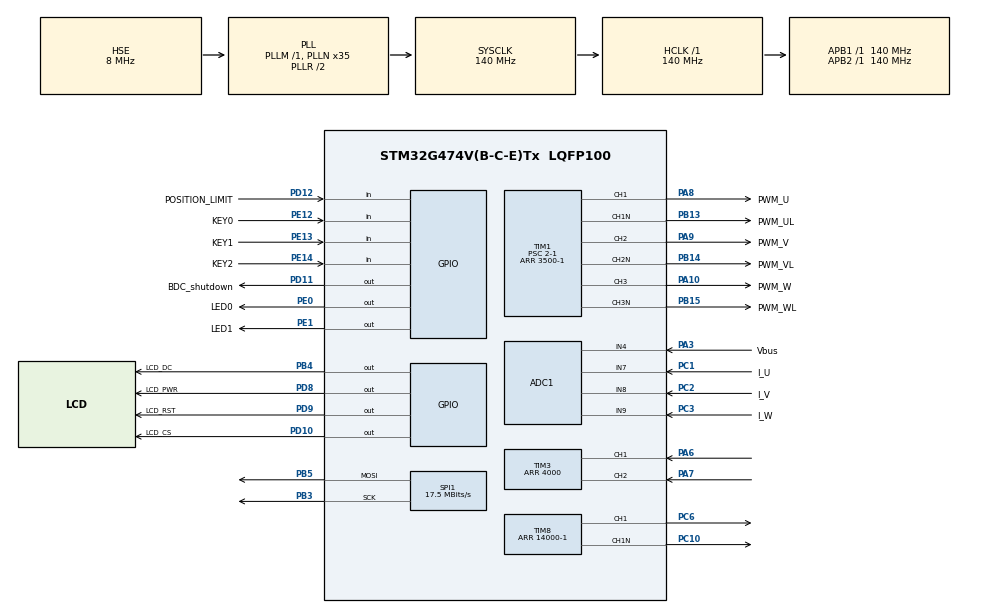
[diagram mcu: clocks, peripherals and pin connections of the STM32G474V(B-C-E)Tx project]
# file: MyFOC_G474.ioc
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ADC1.Channel-0\#ChannelRegularConversion=ADC_CHANNEL_4
ADC1.ContinuousConvMode=ENABLE
ADC1.EnableInjectedConversion=ENABLE
ADC1.ExternalTrigInjecConv=ADC_EXTERNALTRIGINJEC_T1_CC4
ADC1.InjNumberOfConversion=3
ADC1.InjectedChannel-1\#ChannelInjectedConversion=ADC_CHANNEL_7
ADC1.InjectedChannel-2\#ChannelInjectedConversion=ADC_CHANNEL_8
ADC1.InjectedChannel-3\#ChannelInjectedConversion=ADC_CHANNEL_9
ADC1.InjectedOffsetNumber-1\#ChannelInjectedConversion=ADC_OFFSET_NONE
ADC1.InjectedOffsetNumber-2\#ChannelInjectedConversion=ADC_OFFSET_NONE
ADC1.InjectedOffsetNumber-3\#ChannelInjectedConversion=ADC_OFFSET_NONE
ADC1.InjectedRank-1\#ChannelInjectedConversion=1
ADC1.InjectedRank-2\#ChannelInjectedConversion=2
ADC1.InjectedRank-3\#ChannelInjectedConversion=3
ADC1.InjectedSamplingTime-1\#ChannelInjectedConversion=ADC_SAMPLETIME_12CYCLES_5
ADC1.InjectedSamplingTime-2\#ChannelInjectedConversion=ADC_SAMPLETIME_12CYCLES_5
ADC1.InjectedSamplingTime-3\#ChannelInjectedConversion=ADC_SAMPLETIME_12CYCLES_5
ADC1.NbrOfConversionFlag=1
ADC1.OffsetNumber-0\#ChannelRegularConversion=ADC_OFFSET_NONE
ADC1.Rank-0\#ChannelRegularConversion=1
ADC1.Rank1_Channel=ADC_CHANNEL_7
ADC1.Rank2_Channel=ADC_CHANNEL_8
ADC1.Rank3_Channel=ADC_CHANNEL_9
ADC1.SamplingTime-0\#ChannelRegularConversion=ADC_SAMPLETIME_2CYCLES_5
ADC1.master=1
Dma.Request0=SPI1_TX
Dma.SPI1_TX.0.Direction=DMA_MEMORY_TO_PERIPH
Dma.SPI1_TX.0.EventEnable=DISABLE
Dma.SPI1_TX.0.Instance=DMA1_Channel1
Dma.SPI1_TX.0.MemDataAlignment=DMA_MDATAALIGN_BYTE
Dma.SPI1_TX.0.MemInc=DMA_MINC_ENABLE
Dma.SPI1_TX.0.Mode=DMA_NORMAL
Dma.SPI1_TX.0.PeriphDataAlignment=DMA_PDATAALIGN_BYTE
Dma.SPI1_TX.0.PeriphInc=DMA_PINC_DISABLE
Dma.SPI1_TX.0.Polarity=HAL_DMAMUX_REQ_GEN_RISING
Dma.SPI1_TX.0.Priority=DMA_PRIORITY_LOW
Dma.SPI1_TX.0.RequestNumber=1
Dma.SPI1_TX.0.SignalID=NONE
Dma.SPI1_TX.0.SyncEnable=DISABLE
Dma.SPI1_TX.0.SyncPolarity=HAL_DMAMUX_SYNC_NO_EVENT
Dma.SPI1_TX.0.SyncRequestNumber=1
Dma.SPI1_TX.0.SyncSignalID=NONE
FREERTOS.Tasks01=Task_10ms,24,256,StartTask_10ms,Default,NULL,Static,Task_10msBuffer,Task_10msControlBlock;Task_1ms,40,256,StartTask_1ms,Default,NULL,Static,Task_1msBuffer,Task_1msControlBlock;Task_500ms,8,512,StartTask_500ms,Default,NULL,Static,Task_500msBuffer,Task_500msControlBlock
FREERTOS.configTOTAL_HEAP_SIZE=8192
Mcu.Family=STM32G4
Mcu.Name=STM32G474V(B-C-E)Tx
Mcu.Package=LQFP100
NVIC.ADC1_2_IRQn=true\:5\:0\:false\:false\:true\:false\:true\:true\:true
NVIC.DMA1_Channel1_IRQn=true\:6\:0\:true\:false\:true\:true\:false\:true\:true
NVIC.PVD_PVM_IRQn=true\:1\:0\:true\:false\:true\:false\:true\:true\:true
NVIC.PriorityGroup=NVIC_PRIORITYGROUP_4
NVIC.SPI1_IRQn=true\:6\:0\:true\:false\:true\:true\:true\:true\:true
NVIC.TIM3_IRQn=true\:1\:0\:true\:false\:true\:false\:true\:true\:true
NVIC.TIM6_DAC_IRQn=true\:15\:0\:false\:false\:true\:false\:true\:true\:true
NVIC.TIM7_DAC_IRQn=true\:2\:0\:true\:false\:true\:false\:true\:true\:true
NVIC.TimeBase=TIM6_DAC_IRQn
NVIC.TimeBaseIP=TIM6
PA10.GPIO_Label=PWM_W
PA10.Signal=S_TIM1_CH3
PA13.Mode=Serial_Wire
PA13.Signal=SYS_JTMS-SWDIO
PA14.Mode=Serial_Wire
PA14.Signal=SYS_JTCK-SWCLK
PA3.GPIO_Label=Vbus
PA3.Mode=IN4-Single-Ended
PA3.Signal=ADC1_IN4
PA6.Signal=S_TIM3_CH1
PA7.Signal=S_TIM3_CH2
PA8.GPIO_Label=PWM_U
PA8.Signal=S_TIM1_CH1
PA9.GPIO_Label=PWM_V
PA9.Signal=S_TIM1_CH2
PB13.GPIO_Label=PWM_UL
PB13.Mode=PWM Generation1 CH1 CH1N
PB13.Signal=TIM1_CH1N
PB14.GPIO_Label=PWM_VL
PB14.Mode=PWM Generation2 CH2 CH2N
PB14.Signal=TIM1_CH2N
PB15.GPIO_Label=PWM_WL
PB15.Mode=PWM Generation3 CH3 CH3N
PB15.Signal=TIM1_CH3N
PB3.Mode=TX_Only_Simplex_Unidirect_Master
PB3.Signal=SPI1_SCK
PB4.GPIO_Label=LCD_DC
PB4.GPIO_Speed=GPIO_SPEED_FREQ_VERY_HIGH
PB4.PinState=GPIO_PIN_SET
PB4.Signal=GPIO_Output
PB5.Mode=TX_Only_Simplex_Unidirect_Master
PB5.Signal=SPI1_MOSI
PC1.GPIO_Label=I_U
PC1.Mode=IN7-Single-Ended
PC1.Signal=ADC1_IN7
PC10.Mode=PWM Generation1 CH1 CH1N
PC10.Signal=TIM8_CH1N
PC2.GPIO_Label=I_V
PC2.Mode=IN8-Single-Ended
PC2.Signal=ADC1_IN8
PC3.GPIO_Label=I_W
PC3.Mode=IN9-Single-Ended
PC3.Signal=ADC1_IN9
PC6.Signal=S_TIM8_CH1
PD10.GPIO_Label=LCD_CS
PD10.GPIO_PuPd=GPIO_PULLUP
PD10.GPIO_Speed=GPIO_SPEED_FREQ_VERY_HIGH
PD10.PinState=GPIO_PIN_SET
PD10.Signal=GPIO_Output
PD11.GPIO_Label=BDC_shutdown
PD11.Signal=GPIO_Output
PD12.GPIO_Label=POSITION_LIMIT
PD12.GPIO_PuPd=GPIO_NOPULL
PD12.Signal=GPIO_Input
PD8.GPIO_Label=LCD_PWR
PD8.GPIO_ModeDefaultOutputPP=GPIO_MODE_OUTPUT_PP
PD8.PinState=GPIO_PIN_SET
PD8.Signal=GPIO_Output
PD9.GPIO_Label=LCD_RST
PD9.GPIO_PuPd=GPIO_PULLUP
PD9.GPIO_Speed=GPIO_SPEED_FREQ_HIGH
PD9.PinState=GPIO_PIN_SET
PD9.Signal=GPIO_Output
PE0.GPIO_Label=LED0
PE0.GPIO_PuPd=GPIO_PULLUP
PE0.Signal=GPIO_Output
PE1.GPIO_Label=LED1
PE1.GPIO_PuPd=GPIO_PULLUP
PE1.Signal=GPIO_Output
PE12.GPIO_Label=KEY0
PE12.GPIO_PuPd=GPIO_PULLUP
PE12.Signal=GPIO_Input
PE13.GPIO_Label=KEY1
PE13.GPIO_PuPd=GPIO_PULLUP
PE13.Signal=GPIO_Input
PE14.GPIO_Label=KEY2
PE14.GPIO_PuPd=GPIO_PULLUP
PE14.Signal=GPIO_Input
PF0-OSC_IN.Mode=HSE-External-Oscillator
PF0-OSC_IN.Signal=RCC_OSC_IN
PF1-OSC_OUT.Mode=HSE-External-Oscillator
PF1-OSC_OUT.Signal=RCC_OSC_OUT
ProjectManager.HeapSize=0x200
ProjectManager.StackSize=0x400
ProjectManager.TargetToolchain=MDK-ARM V5.32
RCC.ADC12Freq_Value=140000000
RCC.ADC345Freq_Value=140000000
RCC.AHBFreq_Value=140000000
RCC.APB1Freq_Value=140000000
RCC.APB1TimFreq_Value=140000000
RCC.APB2Freq_Value=140000000
RCC.APB2TimFreq_Value=140000000
RCC.CortexFreq_Value=140000000
RCC.EXTERNAL_CLOCK_VALUE=12288000
RCC.HCLKFreq_Value=140000000
RCC.HSE_VALUE=8000000
RCC.HSI48_VALUE=48000000
RCC.HSI_VALUE=16000000
RCC.LSE_VALUE=32768
RCC.PLLN=35
RCC.PLLSourceVirtual=RCC_PLLSOURCE_HSE
RCC.SYSCLKFreq_VALUE=140000000
RCC.SYSCLKSource=RCC_SYSCLKSOURCE_PLLCLK
RCC.USBFreq_Value=140000000
RCC.VCOOutputFreq_Value=280000000
SH.S_TIM1_CH1.0=TIM1_CH1,PWM Generation1 CH1 CH1N
SH.S_TIM1_CH2.0=TIM1_CH2,PWM Generation2 CH2 CH2N
SH.S_TIM1_CH3.0=TIM1_CH3,PWM Generation3 CH3 CH3N
SH.S_TIM3_CH1.0=TIM3_CH1,Encoder_Interface
SH.S_TIM3_CH2.0=TIM3_CH2,Encoder_Interface
SH.S_TIM8_CH1.0=TIM8_CH1,PWM Generation1 CH1 CH1N
SPI1.BaudRatePrescaler=SPI_BAUDRATEPRESCALER_8
SPI1.CLKPhase=SPI_PHASE_2EDGE
SPI1.CLKPolarity=SPI_POLARITY_HIGH
SPI1.CalculateBaudRate=17.5 MBits/s
SPI1.DataSize=SPI_DATASIZE_8BIT
SPI1.Direction=SPI_DIRECTION_2LINES
SPI1.Mode=SPI_MODE_MASTER
SPI1.VirtualType=VM_MASTER
TIM1.Channel-PWM\ Generation1\ CH1\ CH1N=TIM_CHANNEL_1
TIM1.Channel-PWM\ Generation2\ CH2\ CH2N=TIM_CHANNEL_2
TIM1.Channel-PWM\ Generation3\ CH3\ CH3N=TIM_CHANNEL_3
TIM1.Channel-PWM\ Generation4\ No\ Output=TIM_CHANNEL_4
TIM1.CounterMode=TIM_COUNTERMODE_CENTERALIGNED3
TIM1.DeadTime=40
TIM1.OCMode_PWM-PWM\ Generation4\ No\ Output=TIM_OCMODE_PWM2
TIM1.PeriodNoDither=3500-1
TIM1.Prescaler=2-1
TIM1.PulseNoDither_4=3500-2
TIM1.RepetitionCounter=1
TIM1.TIM_MasterOutputTrigger=TIM_TRGO_OC4REF
TIM3.EncoderMode=TIM_ENCODERMODE_TI12
TIM3.IC1Filter=5
TIM3.IC2Filter=5
TIM3.PeriodNoDither=4000
TIM7.PeriodNoDither=7000
TIM7.Prescaler=20-1
TIM8.AutoReloadPreload=TIM_AUTORELOAD_PRELOAD_ENABLE
TIM8.Channel-PWM\ Generation1\ CH1\ CH1N=TIM_CHANNEL_1
TIM8.DeadTime=15
TIM8.OCNPolarity_1=TIM_OCNPOLARITY_LOW
TIM8.OCPolarity_1=TIM_OCPOLARITY_LOW
TIM8.OffStateRunMode=TIM_OSSR_ENABLE
TIM8.PeriodNoDither=14000-1
VP_FREERTOS_VS_CMSIS_V2.Mode=CMSIS_V2
VP_SYS_VS_DBSignals.Mode=DisableDeadBatterySignals
VP_SYS_VS_tim6.Mode=TIM6
VP_TIM1_VS_ClockSourceINT.Mode=Internal
VP_TIM1_VS_no_output4.Mode=PWM Generation4 No Output
VP_TIM7_VS_ClockSourceINT.Mode=Enable_Timer
board=custom

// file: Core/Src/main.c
/* USER CODE BEGIN Header */
/**
  ******************************************************************************
  * @file           : main.c
  * @brief          : Main program body
  ******************************************************************************
  * @attention
  *
  * Copyright (c) 2025 STMicroelectronics.
  * All rights reserved.
  *
  * This software is licensed under terms that can be found in the LICENSE file
  * in the root directory of this software component.
  * If no LICENSE file comes with this software, it is provided AS-IS.
  *
  ******************************************************************************
  */
/* USER CODE END Header */
#include "main.h"
#include "cmsis_os.h"
#include "adc.h"
#include "dma.h"
#include "spi.h"
#include "tim.h"
#include "gpio.h"

/* USER CODE BEGIN Includes */
#include "Led_Key.h"
#include "Encoder.h"
#include "Foc_Function.h"
#include "Observer.h"
#include "Filter.h"
#include "dwt_timer.h"
#include "math.h"
#include "arm_math.h"
/* USER CODE END Includes */

/* USER CODE BEGIN PV */

uint16_t  ADC_Vbus   = 0;           //ADC原始值
uint16_t  ADC_IsensU = 0;
uint16_t  ADC_IsensV = 0;
uint16_t  ADC_IsensW = 0;

float   Vbus         = 0;           ////电压电流真实值
float   IsensU_raw   = 0;           //电流生值
float   IsensV_raw   = 0;
float   IsensW_raw   = 0;
float   IsensU       = 0;           //电流滤波值
float   IsensV       = 0;
float   IsensW       = 0;

uint8_t Offset_Flag  = 0;           //偏置校准变量
uint8_t Run_Flag     = 0;           //电机启动标志
uint8_t Run_Switch   = 0;           //观测器切换标志为
uint8_t ThetaUp_Flag = 0;           //开环位置自增标志

uint16_t U_Offset    = 0;           //偏置ADC值
uint16_t V_Offset    = 0;
uint16_t W_Offset    = 0;

#define  OC_TRIP_A   15.0f          // 电流保护
volatile uint8_t g_fault_oc = 0;   // 过流闩锁，触发后保持故障态

uint8_t key;                        //按键值
float   my_theta      = 0;          //开环位置
float   my_step       = 0.000f;     //开环增量
float   my_add        = 0.0f;

uint16_t EncodeValue    = 0;        //编码器当前值
float   encode_e_theta  = 0;        //真实电角度
float   encode_speed    = 0;        //真实速度
uint16_t encode_cnt     = 0;        //编码器计圈

float   smo_e_theta     = 0;        //SMO_Atan
float   smo_pll_e_theta = 0;        //SMO_PLL
float   bef_e_theta     = 0;        //
float   smo_speed_raw   = 0;
float   smo_speed       = 0;        //SMO_RPM

float   smo_err         = 0;        //观测器和实际角度误差

float   final_theta     = 0;        //IF/SMO blend output angleref

float   ref             =1.5f;

float    Ud;
float    Uq;
float    Ualpha;
float    Ubeta;
float    Id;
float    Iq;
float    Ialpha;
float    Ibeta;

float    Vup        = 0;            //VF开环频率（速度）变量
float    Uup        = 0;            //VF开环电压变量

float    kp         = 1.03f;        //电流环PID调试变量 带宽800Hz
float    ki         = 0.11f;        //电流环PID调试变量
float    skp        = 0.016f;       //速度环PID调试变量
float    ski        = 0.00060f;     //速度环PID调试变量

float    Iqref_start= 4.0f;         //IF-SMO切换电流环
float    Iqref      = 4.0f;         //Iq参考
float    Speedref   = 0.0f;

float    SMO_K      = 3.0f;         //初始滑膜增益
float    Kr         = 0.0f;         //谐振增益

LPF1_t g_smo_speed_lpf  = {0};      //低通滤波器
DWT_Time_t t = {0};                 //DWT时间戳

/* USER CODE END PV */

void SystemClock_Config(void);
void MX_FREERTOS_Init(void);

int main(void)
{

  /* MCU Configuration--------------------------------------------------------*/

  /* Reset of all peripherals, Initializes the Flash interface and the Systick. */
  HAL_Init();

  /* Configure the system clock */
  SystemClock_Config();

  /* Initialize all configured peripherals */
  MX_GPIO_Init();
  MX_DMA_Init();
  MX_ADC1_Init();
  MX_TIM1_Init();
  MX_TIM3_Init();
  MX_TIM7_Init();
  MX_SPI1_Init();
  MX_TIM8_Init();
  /* USER CODE BEGIN 2 */
  DWT_Timer_Init();

  /******* 关闭所有led灯 *******/
  LED0(1);
  LED1(1);

  /******* 控制器参数赋值 *******/
  C_PI.Kp  = kp;                                               //wb*Ls = 1000*0.000444463 = 0.444463
  C_PI.Ki  = ki;                                               //wb*Rs = 1000*0.223025     = 223
  S_PI.Kp  = skp;
  S_PI.Ki  = ski;

  PR_Id.Kr = Kr;
  PR_Iq.Kr = Kr;

  /*********** ADC相电流采集 ***********/
  __HAL_ADC_CLEAR_FLAG( &hadc1, ADC_FLAG_JEOC);                     //在启动新一轮ADC转换前，清除之前的转换结束标志
  __HAL_ADC_CLEAR_FLAG( &hadc1, ADC_FLAG_EOC);                      //End of Conversion标志位

  HAL_ADCEx_Calibration_Start(&hadc1 , ADC_SINGLE_ENDED);           //ADC自校准
  HAL_ADCEx_InjectedStart_IT(&hadc1);                               //开启三相电流值ADC采集以及ADC中断

  /*********TIM1&6&3 PWM互补输出 触发 定时 编码器**********/
//  HAL_TIM_Base_Start_IT(&htim6);                                  //TIM6 计时

  HAL_TIM_Encoder_Stop(&htim3, TIM_CHANNEL_ALL);                    //TIM3 编码器 先停止
  __HAL_TIM_SET_COUNTER(&htim3, 0);                                 //清0计数器

  HAL_TIM_Base_Start( &htim1);                                      //TIM1 PWM

  HAL_TIM_PWM_Start ( &htim1, TIM_CHANNEL_4);                       //触发通道4这里用的这个事件触发ADC采集

  HAL_TIM_PWM_Start( &htim1, TIM_CHANNEL_1);                        //三相PWM通道开启
  HAL_TIM_PWM_Start( &htim1, TIM_CHANNEL_2);
  HAL_TIM_PWM_Start( &htim1, TIM_CHANNEL_3);
  HAL_TIMEx_PWMN_Start( &htim1, TIM_CHANNEL_1);                     //三相PWM互补通道开启
  HAL_TIMEx_PWMN_Start( &htim1, TIM_CHANNEL_2);

  /* USER CODE END 2 */

  /* Init scheduler */
  osKernelInitialize();

  /* Call init function for freertos objects (in cmsis_os2.c) */
  MX_FREERTOS_Init();

  /* Start scheduler */
  osKernelStart();

  /* We should never get here as control is now taken by the scheduler */

  /* Infinite loop */
  while (1)
  {

  }
}

void SystemClock_Config(void)
{
  RCC_OscInitTypeDef RCC_OscInitStruct = {0};
  RCC_ClkInitTypeDef RCC_ClkInitStruct = {0};

  /** Configure the main internal regulator output voltage
  */
  HAL_PWREx_ControlVoltageScaling(PWR_REGULATOR_VOLTAGE_SCALE1);

  /** Initializes the RCC Oscillators according to the specified parameters
  * in the RCC_OscInitTypeDef structure.
  */
  RCC_OscInitStruct.OscillatorType = RCC_OSCILLATORTYPE_HSE;
  RCC_OscInitStruct.HSEState = RCC_HSE_ON;
  RCC_OscInitStruct.PLL.PLLState = RCC_PLL_ON;
  RCC_OscInitStruct.PLL.PLLSource = RCC_PLLSOURCE_HSE;
  RCC_OscInitStruct.PLL.PLLM = RCC_PLLM_DIV1;
  RCC_OscInitStruct.PLL.PLLN = 35;
  RCC_OscInitStruct.PLL.PLLP = RCC_PLLP_DIV2;
  RCC_OscInitStruct.PLL.PLLQ = RCC_PLLQ_DIV2;
  RCC_OscInitStruct.PLL.PLLR = RCC_PLLR_DIV2;
  if (HAL_RCC_OscConfig(&RCC_OscInitStruct) != HAL_OK)
  {
    Error_Handler();
  }

  /** Initializes the CPU, AHB and APB buses clocks
  */
  RCC_ClkInitStruct.ClockType = RCC_CLOCKTYPE_HCLK|RCC_CLOCKTYPE_SYSCLK
                              |RCC_CLOCKTYPE_PCLK1|RCC_CLOCKTYPE_PCLK2;
  RCC_ClkInitStruct.SYSCLKSource = RCC_SYSCLKSOURCE_PLLCLK;
  RCC_ClkInitStruct.AHBCLKDivider = RCC_SYSCLK_DIV1;
  RCC_ClkInitStruct.APB1CLKDivider = RCC_HCLK_DIV1;
  RCC_ClkInitStruct.APB2CLKDivider = RCC_HCLK_DIV1;

  if (HAL_RCC_ClockConfig(&RCC_ClkInitStruct, FLASH_LATENCY_4) != HAL_OK)
  {
    Error_Handler();
  }
}

/* USER CODE BEGIN 4 */

/*********************************** 各类中断存放区 主要功能实现 ***********************************/

/*ADC三相电流低端采样完成中断 FOC运算 10kHz */
void HAL_ADCEx_InjectedConvCpltCallback(ADC_HandleTypeDef *hadc)                //10kHz频率 0.0001s算一次
{

    DWT_Timer_Start(&t);
    static uint8_t  offset_cnt   = 0;                                           // 偏置测量计数

    static uint16_t align_cnt    = 0;                                           // 0位对齐计时
    static uint32_t openloop_cnt = 0;                                           // 开环计时

    static uint16_t smo_settle_cnt = 0;                                         // 进入SMO_ONLY后稳定计数
    static uint8_t  speed_loop_en  = 0;                                         // 速度环使能标志
    static uint8_t  speed_cnt      = 0;                                         // 速度环分频计数（10kHz->1kHz）
    static float    speedref_cmd   = 0.0f;                                      // 速度给定斜坡

    smo_pll_e_theta = SMO_PLL_Update(&SMO, &PLL, MyFoc.Ualpha, MyFoc.Ubeta, MyFoc.Ialpha, MyFoc.Ibeta);
    smo_speed_raw   = (float)PLL.Est_RPM;                                                                         //Jlink调试
    smo_speed       = LPF1_Update(&g_smo_speed_lpf, smo_speed_raw, 0.015f);
    MyFoc.speed     = smo_speed;
    //my_add          = SMO_GetPhaseComp(smo_speed);                              //相位补偿
    SMO_K = 0.0082f * smo_speed + 0.2133f;                                      //动态滑膜增益
    if(SMO_K < 1.5f)  SMO_K = 1.5f;
    else if(SMO_K > 15.0f) SMO_K = 15.0f;
    SMO.K = SMO_K;

    UNUSED(hadc);
    if(hadc == &hadc1)
    {

        if(Offset_Flag == 0)
        {
            offset_cnt++;
            ADC_IsensU = hadc1.Instance->JDR1;
            ADC_IsensV = hadc1.Instance->JDR2;
            ADC_IsensW = hadc1.Instance->JDR3;

            U_Offset += ADC_IsensU;
            V_Offset += ADC_IsensV;
            W_Offset += ADC_IsensW;

            if(offset_cnt >= 10)
            {
                U_Offset = U_Offset/10;
                V_Offset = V_Offset/10;
                W_Offset = W_Offset/10;
                Offset_Flag  = 1;                                               //偏置完成 标志位置1
                Run_Flag     = 1;                                               //允许启动

            }
        }
        else
        {
            ADC_IsensU = hadc1.Instance->JDR1;
            ADC_IsensV = hadc1.Instance->JDR2;
            ADC_IsensW = hadc1.Instance->JDR3;

            IsensU = - (float)(ADC_IsensU - U_Offset)* 0.00785664f;             ////取负因为硬件问题，电流和采集对应关系相反了
            IsensV = - (float)(ADC_IsensV - V_Offset)* 0.00785664f;
            IsensW = - (float)(ADC_IsensW - W_Offset)* 0.00785664f;

            //过流保护
            if ((fabsf(IsensU) > OC_TRIP_A) ||(fabsf(IsensV) > OC_TRIP_A) ||(fabsf(IsensW) > OC_TRIP_A))
            {
                g_fault_oc = 1;
            }
            if (g_fault_oc)
            {
                Run_Flag = 0;
                Motor_SoftwareTrip_StopAll();
                speedref_cmd   = 0.0f; // 把中断里的静态参考也归零
                speed_loop_en  = 0;
                speed_cnt      = 0;
                smo_settle_cnt = 0;
                openloop_cnt   = 0;
                align_cnt      = 0;
                return;
            }
            //电机停机/启动操作
            if (Speedref == 0.0f && Run_Flag == 1)
            {
                Run_Flag = 0;                 // 关闭主运算FOC标志位
                Motor_SoftwareTrip_StopAll(); // 关闭PWM、清空所有PID积分

                speed_loop_en  = 0;           // 将运行强拖与斜坡的所有状态清零，以备下次干净的启动
                speed_cnt      = 0;
                smo_settle_cnt = 0;
                openloop_cnt   = 0;
                align_cnt      = 0;
                speedref_cmd   = 0.0f;
                my_theta       = 0.0f;
                Blend.state    = BLEND_STATE_IF_ONLY;
                return;                       // 本次中断提前结束
            }
            else if (Speedref > 0.0f && Run_Flag == 0 && g_fault_oc == 0)
            {
                my_step = 0.012f;             //恢复初始步长
                openloop_cnt   = 0;
                align_cnt      = 0;
                smo_settle_cnt = 0;
                speed_loop_en  = 0;
                my_theta       = 0.0f;
                speedref_cmd   = 0.0f;
                MyFoc.speed    = 0.0f;
                Iqref          = Iqref_start;
                Blend.state    = BLEND_STATE_IF_ONLY;

                HAL_TIM_PWM_Start( &htim1, TIM_CHANNEL_1);// 重启定时器1的6个PWM输出通道
                HAL_TIM_PWM_Start( &htim1, TIM_CHANNEL_2);
                HAL_TIM_PWM_Start( &htim1, TIM_CHANNEL_3);
                HAL_TIMEx_PWMN_Start( &htim1, TIM_CHANNEL_1);
                HAL_TIMEx_PWMN_Start( &htim1, TIM_CHANNEL_2);
                HAL_TIMEx_PWMN_Start( &htim1, TIM_CHANNEL_3);

                Run_Flag = 1;                 // 重置运行标志位，放行后续的 IF 开环拖动控制代码
            }

        }
     }
     if(Run_Flag)
     {
         float I_ForwardAdd =5.0f; //5.0f;  //静摩擦补偿前馈量

         if(align_cnt < 2000)  //0位对齐
         {
                align_cnt++;
                my_theta = 0.0f;
                IF_OpenLoop(&MyFoc, &C_PI, IsensU, IsensV, IsensW, Iqref_start+ I_ForwardAdd , 4.712389f);//Iqref_start + I_ForwardAdd
         }
         else
         {
                // 1) IF开环角度推进
                my_theta += my_step;
                my_theta  = Normalize_theta(my_theta);

                // 2) IF/SMO加权融合角度
                final_theta = IF_SMO_Blend(&Blend, my_theta, smo_pll_e_theta, openloop_cnt);

                if (Blend.state != BLEND_STATE_SMO_ONLY)
                {
                    if (openloop_cnt > 10000)
                    {
                        I_ForwardAdd = 0;
                    }

                    // 仍在IF阶段（含CONVERGING/BLENDING）：只跑电流环，给固定Iqref_start
//                    VF_OpenLoop(&MyFoc, 0, ref ,my_theta);
                    IF_OpenLoop(&MyFoc, &C_PI, IsensU, IsensV, IsensW, Iqref_start + I_ForwardAdd, final_theta);//final_theta
                    openloop_cnt++;

                    // 离开SMO_ONLY后，速度环状态全部清零，避免脏状态
                    speed_loop_en     = 0;
                    smo_settle_cnt    = 0;
                    speed_cnt         = 0;
                    speedref_cmd      = 0.0f;
                    S_PI.speed_KI_sum = 0.0f;
                    Iqref             = Iqref_start;
                }
                else
                {
                    // 已进入SMO_ONLY
                    if (speed_loop_en == 0)
                    {
                        // 3) 先仅SMO+电流环稳定一段时间
                        SMO_C_Control(&MyFoc, &C_PI, IsensU, IsensV, IsensW, Iqref_start, Normalize_theta(final_theta + my_add));

                        // 锁相误差满足门限才累计，防止没锁稳就开速度环
                        if (fabsf(PLL.Err) < 0.6f)
                        {
                            smo_settle_cnt++;
                        }
                        else
                        {
                            smo_settle_cnt = 0;
                        }

                        // 1200个10kHz周期 = 120ms
                        if (smo_settle_cnt >= 800)
                        {
                            // 4) 切入速度环，做无扰预置
                            speed_loop_en = 1;
                            speed_cnt     = 0;

                            speedref_cmd   = MyFoc.speed;      // 从当前速度起步
                            S_PI.speed_ref = speedref_cmd;
                            S_PI.err_speed = S_PI.speed_ref - MyFoc.speed;

                            // bumpless: 让速度环输出初值接近Iqref_start
                            if (S_PI.Ki > 1e-6f)
                            {
                                S_PI.speed_KI_sum = (Iqref_start - S_PI.Kp * S_PI.err_speed) / S_PI.Ki;
                            }
                            else
                            {
                                S_PI.speed_KI_sum = 0.0f;
                            }

                            // 防止预置过大
                            if (S_PI.speed_KI_sum >  12000.0f) S_PI.speed_KI_sum =  12000.0f;
                            if (S_PI.speed_KI_sum < -12000.0f) S_PI.speed_KI_sum = -12000.0f;

                            Iqref = Iqref_start;
                        }
                    }
                    else
                    {
                        // 5) 速度环分频执行（10kHz -> 1kHz）
                        speed_cnt++;
                        if (speed_cnt >= 10)
                        {
                            speed_cnt = 0;

                            // 速度给定斜坡，避免给定跳变
                            if (speedref_cmd < Speedref)
                            {
                                speedref_cmd += 0.5f;
                                if (speedref_cmd > Speedref) speedref_cmd = Speedref;
                            }
                            else if (speedref_cmd > Speedref)
                            {
                                speedref_cmd -= 0.5f;
                                if (speedref_cmd < Speedref) speedref_cmd = Speedref;
                            }

                            S_PI.speed_ref = speedref_cmd;
                            SpeedPI(&MyFoc, &S_PI, &Iqref);
                        }
                        // 6) SMO角度下执行电流环，Iqref由速度环给出
                        SMO_C_Control(&MyFoc, &C_PI, IsensU, IsensV, IsensW, Iqref, Normalize_theta(final_theta + my_add));
                    }
                }
         }
     }

    DWT_Timer_Stop(&t);

    //jlink调试
    Ud      = MyFoc.Ud;
    Uq      = MyFoc.Uq;
    Ualpha  = MyFoc.Ualpha;
    Ubeta   = MyFoc.Ubeta;
    Id      = MyFoc.Id;
    Iq      = MyFoc.Iq;
    Ialpha  = MyFoc.Ialpha;
    Ibeta   = MyFoc.Ibeta;

}//ADC采样完成中断

/************** 一阶低通数字滤波 **************/
float LowPassFilter(float input , float a)                                       //a为滤波系数
{
    static float prev_output = 0;                                                //静态变量保存上一次输出
    static uint8_t init_flag = 0;                                                //初始标志位，防止畸变

     if(!init_flag)
     {
        prev_output = input;
        init_flag = 1;
        return prev_output;
     }

    float output = a * input + (1.0f - a) * prev_output;
    prev_output = output;
    return output;
}

/************** 停机功能函数 **************/
void Motor_SoftwareTrip_StopAll(void)
{
    // 停各通道
    HAL_TIM_PWM_Stop(&htim1, TIM_CHANNEL_1);
    HAL_TIM_PWM_Stop(&htim1, TIM_CHANNEL_2);
    HAL_TIM_PWM_Stop(&htim1, TIM_CHANNEL_3);
    HAL_TIMEx_PWMN_Stop(&htim1, TIM_CHANNEL_1);
    HAL_TIMEx_PWMN_Stop(&htim1, TIM_CHANNEL_2);
    HAL_TIMEx_PWMN_Stop(&htim1, TIM_CHANNEL_3);

    // 参考值清零
    Iqref    = 0.0f;
    Speedref = 0.0f;
    my_step  = 0.0f;

    C_PI.Id_ref = 0.0f;
    C_PI.Iq_ref = 0.0f;
    S_PI.speed_ref = 0.0f;

    // 积分清零
    C_PI.Id_KI_sum = 0.0f;
    C_PI.Iq_KI_sum = 0.0f;
    S_PI.speed_KI_sum = 0.0f;
}

/* USER CODE END 4 */

void HAL_TIM_PeriodElapsedCallback(TIM_HandleTypeDef *htim)
{
  if (htim->Instance == TIM6) {
    HAL_IncTick();
  }
}

void Error_Handler(void)
{
  __disable_irq();
  while (1)
  {
  }
}

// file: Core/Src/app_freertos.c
/* USER CODE BEGIN Header */
/**
  ******************************************************************************
  * File Name          : app_freertos.c
  * Description        : Code for freertos applications
  ******************************************************************************
  * @attention
  *
  * Copyright (c) 2026 STMicroelectronics.
  * All rights reserved.
  *
  * This software is licensed under terms that can be found in the LICENSE file
  * in the root directory of this software component.
  * If no LICENSE file comes with this software, it is provided AS-IS.
  *
  ******************************************************************************
  */
/* USER CODE END Header */

#include "FreeRTOS.h"
#include "task.h"
#include "main.h"
#include "cmsis_os.h"

/* USER CODE BEGIN Includes */
#include "adc.h"
#include "Led_Key.h"
#include "dwt_timer.h"
#include "LCD_SPI.h"
#include <stdio.h>
#include "Foc_Function.h"
#include "BDC_Ctrl.h"
/* USER CODE END Includes */

typedef StaticTask_t osStaticThreadDef_t;

/* USER CODE BEGIN Variables */

extern float Vbus;
extern uint16_t ADC_Vbus;
extern uint8_t key;
extern DWT_Time_t t ;
extern float Speedref;
extern FOC_TypeDef MyFoc;

uint16_t UI_Buf[144 * 32];
uint16_t cnt = 0;

volatile uint8_t Target_flg = 0;   // 状�?�标志：0表示停止�?1表示正转�?2表示反转
volatile uint16_t BDC_Speed = 10000;
volatile uint8_t Limit;

/* USER CODE END Variables */
/* Definitions for Task_10ms */
osThreadId_t Task_10msHandle;
uint32_t Task_10msBuffer[ 256 ];
osStaticThreadDef_t Task_10msControlBlock;
const osThreadAttr_t Task_10ms_attributes = {
  .name = "Task_10ms",
  .stack_mem = &Task_10msBuffer[0],
  .stack_size = sizeof(Task_10msBuffer),
  .cb_mem = &Task_10msControlBlock,
  .cb_size = sizeof(Task_10msControlBlock),
  .priority = (osPriority_t) osPriorityNormal,
};
/* Definitions for Task_1ms */
osThreadId_t Task_1msHandle;
uint32_t Task_1msBuffer[ 256 ];
osStaticThreadDef_t Task_1msControlBlock;
const osThreadAttr_t Task_1ms_attributes = {
  .name = "Task_1ms",
  .stack_mem = &Task_1msBuffer[0],
  .stack_size = sizeof(Task_1msBuffer),
  .cb_mem = &Task_1msControlBlock,
  .cb_size = sizeof(Task_1msControlBlock),
  .priority = (osPriority_t) osPriorityHigh,
};
/* Definitions for Task_500ms */
osThreadId_t Task_500msHandle;
uint32_t Task_500msBuffer[ 512 ];
osStaticThreadDef_t Task_500msControlBlock;
const osThreadAttr_t Task_500ms_attributes = {
  .name = "Task_500ms",
  .stack_mem = &Task_500msBuffer[0],
  .stack_size = sizeof(Task_500msBuffer),
  .cb_mem = &Task_500msControlBlock,
  .cb_size = sizeof(Task_500msControlBlock),
  .priority = (osPriority_t) osPriorityLow,
};

void StartTask_10ms(void *argument);
void StartTask_1ms(void *argument);
void StartTask_500ms(void *argument);

void MX_FREERTOS_Init(void); /* (MISRA C 2004 rule 8.1) */

void MX_FREERTOS_Init(void) {

  /* Create the thread(s) */
  /* creation of Task_10ms */
  Task_10msHandle = osThreadNew(StartTask_10ms, NULL, &Task_10ms_attributes);

  /* creation of Task_1ms */
  Task_1msHandle = osThreadNew(StartTask_1ms, NULL, &Task_1ms_attributes);

  /* creation of Task_500ms */
  Task_500msHandle = osThreadNew(StartTask_500ms, NULL, &Task_500ms_attributes);

}

void StartTask_10ms(void *argument)
{
  /* USER CODE BEGIN StartTask_10ms */
  /* Infinite loop */
  uint32_t PreviousWakeTime = osKernelGetTickCount();
  const uint32_t TimeIncrement = 10;

  BDC_Init();               //ֱ�������ʼ��
  uint8_t last_state = 255; //���������ʼ״̬��Ϊ��ͬ

  for(;;)
  {
    /***** MainTask *****/

    if(Target_flg != last_state)
    {
          if(Target_flg == 0)
          {
              BDC_Stop();
          }
          else if(Target_flg == 1)
          {
              BDC_Down_drive();
          }
          else if(Target_flg == 2)
          {
              BDC_Up_drive();
          }
          last_state = Target_flg;
    }

    if (Target_flg != 0)
    {
          BDC_SetSpeed(BDC_Speed);
    }

    /***** Vbus ADC  *****/
    HAL_ADC_Start(&hadc1);
    HAL_ADC_PollForConversion(&hadc1, 5);
    ADC_Vbus   = HAL_ADC_GetValue(&hadc1);
    Vbus = (float)ADC_Vbus * 0.0176757477f;

    /****** KEY_LED  ******/
    key = key_scan(0);
    if (key)
    {
      switch (key)
      {
            case KEY0_PRES:
//                LED0_TOGGLE();
                Speedref += 100;
                if(Speedref == 100 ) Speedref = 200 ;
                if(Speedref >= 2000) Speedref = 2000;
                break;

            case KEY1_PRES:
//                LED1_TOGGLE();
                Speedref -= 100;
                if(Speedref < 200 ) Speedref =  0;
                break;

            case KEY2_PRES:
//                LED0_TOGGLE();
//                LED1_TOGGLE();
               Speedref = 0.0f;
                break;
            default : break;
      }
    }

    PreviousWakeTime += TimeIncrement;
    osDelayUntil(PreviousWakeTime);

  }
  /* USER CODE END StartTask_10ms */
}

void StartTask_1ms(void *argument)
{
  /* USER CODE BEGIN StartTask_1ms */

  uint32_t PreviousWakeTime = osKernelGetTickCount();
  const uint32_t TimeIncrement = 1;

  /* Infinite loop */
  for(;;)
  {
    Limit = HAL_GPIO_ReadPin(GPIOD, GPIO_PIN_12);
    if (HAL_GPIO_ReadPin(GPIOD, GPIO_PIN_12) == GPIO_PIN_SET)
    {
            if (Target_flg == 2) // ���� Target_flg == 2 �ǳ�����������ķ����˶�
            {
                Target_flg = 0;  // ǿ��ͣ������ֹײ��
            }
    }

    PreviousWakeTime += TimeIncrement;
    osDelayUntil(PreviousWakeTime);
  }
  /* USER CODE END StartTask_1ms */
}

void StartTask_500ms(void *argument)
{
  /* USER CODE BEGIN StartTask_500ms */

    LCD_Init();
    LCD_Clear(LCD_BLACK);

    LCD_Draw_String_To_Buffer_X2("Ref:", UI_Buf, 144, 32, LCD_WHITE, LCD_BLACK);
    LCD_Fill_DMA(10, 20, 10 + 144 - 1, 20 + 32 - 1, UI_Buf);

    LCD_Draw_String_To_Buffer_X2("RPM:", UI_Buf, 96, 32, LCD_WHITE, LCD_BLACK);
    LCD_Fill_DMA(10, 70, 10 + 96 - 1, 70 + 32 - 1, UI_Buf);

    LCD_Draw_String_To_Buffer_X2("Iq:", UI_Buf, 48, 32, LCD_WHITE, LCD_BLACK);
    LCD_Fill_DMA(10, 120, 10 + 48 - 1, 120 + 32 - 1, UI_Buf);

    LCD_Draw_String_To_Buffer_X2("Id:", UI_Buf, 48, 32, LCD_WHITE, LCD_BLACK);
    LCD_Fill_DMA(10, 170, 10 + 48 - 1, 170 + 32 - 1, UI_Buf);

  uint32_t tick = osKernelGetTickCount();
  char str_buf[15];

  /* Infinite loop */
  for(;;)
  {
        //DWT_Timer_Start(&t);
        // Speedref
        sprintf(str_buf, "%8.1f", Speedref);
        LCD_Draw_String_To_Buffer_X2(str_buf, UI_Buf, 128, 32, LCD_WHITE, LCD_BLACK);
        LCD_Fill_DMA(90, 20, 90 + 128 - 1, 20 + 32 - 1, UI_Buf);

        // speed
        sprintf(str_buf, "%8.1f", MyFoc.speed);
        LCD_Draw_String_To_Buffer_X2(str_buf, UI_Buf, 128, 32, LCD_GREEN, LCD_BLACK);
        LCD_Fill_DMA(90, 70, 90 + 128 - 1, 70 + 32 - 1, UI_Buf);

        // Iq
        sprintf(str_buf, "%8.2f", MyFoc.Iq);
        LCD_Draw_String_To_Buffer_X2(str_buf, UI_Buf, 128, 32, LCD_YELLOW, LCD_BLACK);
        LCD_Fill_DMA(90, 120, 90 + 128 - 1, 120 + 32 - 1, UI_Buf);

        // Id
        sprintf(str_buf, "%8.2f", MyFoc.Id);
        LCD_Draw_String_To_Buffer_X2(str_buf, UI_Buf, 128, 32, LCD_BLUE, LCD_BLACK);
        LCD_Fill_DMA(90, 170, 90 + 128 - 1, 170 + 32 - 1, UI_Buf);

        //DWT_Timer_Stop(&t);

        tick += 500;
        osDelayUntil(tick);

  }
  /* USER CODE END StartTask_500ms */
}
